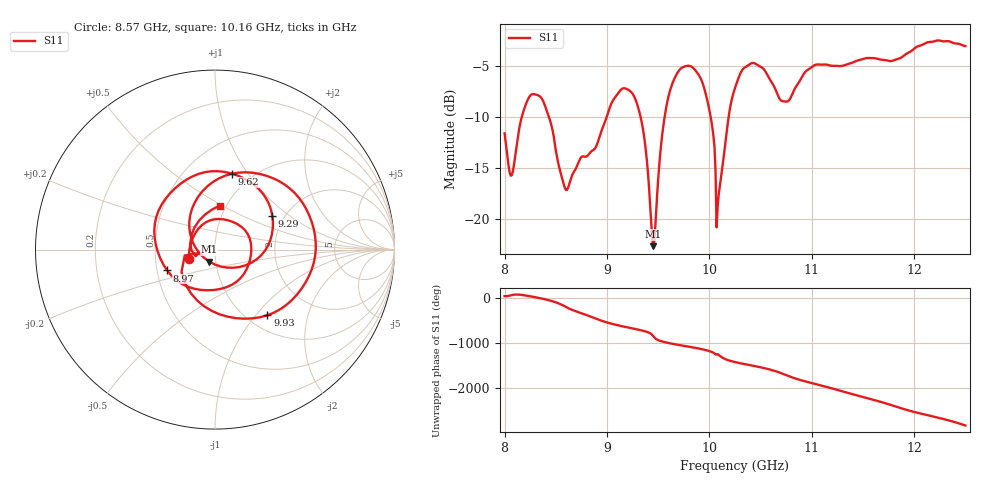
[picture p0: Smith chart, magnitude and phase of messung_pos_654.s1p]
#  HZ  S  RI  R  50.00
! Rohde & Schwarz Vector Network Analyzer
! Rohde-Schwarz,ZNA43-4Port,1332450044101932,2.92
! Created: UTC 6/1/2026, 11:33:49 AM
! freq[Hz]  re:S11  im:S11
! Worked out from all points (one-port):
!   451 points, 8 GHz to 12.5 GHz, reference 50 ohm
!   lowest |S11| = -22.6 dB at 9.45 GHz (marker M1), VSWR 1.16, Z = 46.4 - j6.19 ohm
!   |S11| at or under -10 dB: start of sweep to 8.168 GHz; 8.433 GHz to 8.997 GHz (564.1 MHz wide, 6.47 % of centre); 9.328 GHz to 9.563 GHz (234.5 MHz wide, 2.48 % of centre)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
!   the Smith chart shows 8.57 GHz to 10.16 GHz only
!   S11 on the Smith chart (normalised r, x): 8.57 GHz: 0.75, -0.08; 8.97 GHz: 0.57, -0.14; 9.29 GHz: 1.73, +0.76; 9.62 GHz: 0.81, +0.85; 9.93 GHz: 1.23, -1.15; 10.16 GHz: 0.93, +0.48
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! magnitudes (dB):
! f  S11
! 8 GHz  -11.6
! 8.07 GHz  -15.7
! 8.2 GHz  -9.0
! 8.34 GHz  -7.9
! 8.45 GHz  -10.5
! 8.57 GHz  -16.3
! 8.61 GHz  -17.1
! 8.97 GHz  -10.7
! 9.13 GHz  -7.4
! 9.29 GHz  -8.6
! 9.37 GHz  -12.5
! 9.45 GHz  -22.6
! 9.47 GHz  -21.0
! 9.54 GHz  -11.7
! 9.62 GHz  -7.3
! 9.69 GHz  -5.6
! 9.93 GHz  -6.6
! 10.03 GHz  -11.1
! 10.08 GHz  -18.9
! 10.16 GHz  -12.2
! 10.25 GHz  -7.2
! 10.43 GHz  -4.7
! 10.7 GHz  -8.4
! 10.82 GHz  -7.5
! 11.03 GHz  -4.9
! 11.38 GHz  -4.7
! 11.94 GHz  -3.7
! 12.5 GHz  -3.1
